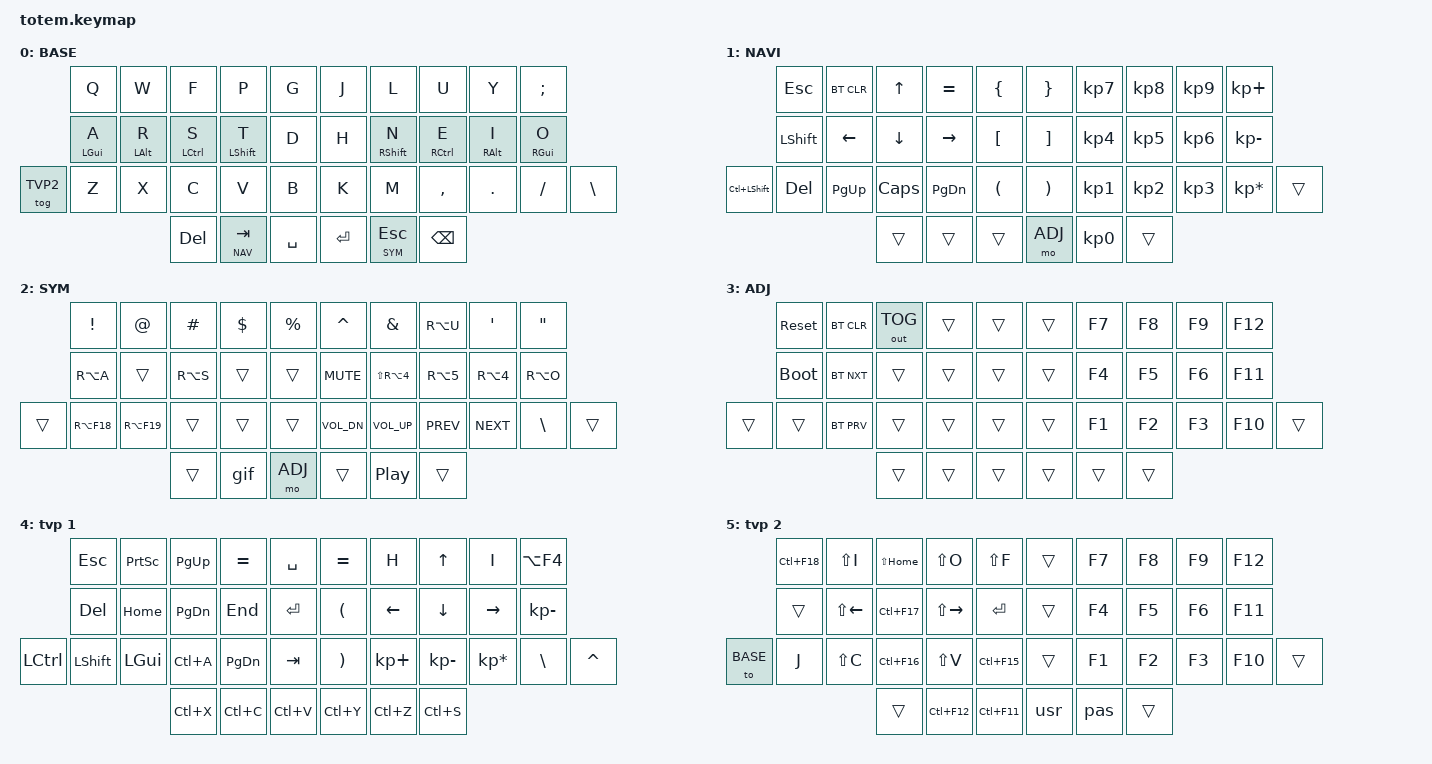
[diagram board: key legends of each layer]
//
//                                                        ▀▀▀▀▀     ▀▀▀▀▀          ▀▀█▀▀
//                                                        ▄▀▀▀▄  ▄  ▄▀▀▀▄  ▄  ▄▀▀▀▄  █  ▄▀▀▀▄
//                                                        █   █  █  █   █  █  █   █  █  █   █
//                                                         ▀▀▀   █   ▀▀▀   █   ▀▀▀   ▀   ▀▀▀
//                                                               █      ▄▄▄█▄▄▄    █   █  
//                                                               ▀      █  █  █     █▄█
//                                                             ▀▀▀▀▀    █  █  █      ▀
//                                                                      ▀  ▀  ▀
//
// ▄▄▄▄▄▄▄▄▄▄▄▄▄▄▄▄▄▄▄▄▄▄▄▄▄▄▄▄▄▄▄▄▄▄▄▄▄▄▄▄▄▄▄▄▄▄▄▄▄▄▄▄▄▄▄▄▄▄▄▄▄▄▄▄▄▄▄▄▄▄▄▄▄▄▄▄▄▄▄▄▄▄▄▄▄▄▄▄▄▄▄▄▄▄▄▄▄▄▄▄▄▄▄▄▄▄▄▄▄▄▄▄▄▄▄▄▄▄▄▄▄▄▄▄▄▄▄▄▄▄▄▄▄▄▄▄▄▄▄▄▄▄▄▄▄▄▄▄▄
       

#include <behaviors.dtsi>
#include <dt-bindings/zmk/keys.h>
#include <dt-bindings/zmk/bt.h>
#include <dt-bindings/zmk/outputs.h>

#define BASE 0
#define NAV  1
#define SYM  2
#define ADJ  3
#define TVP1 4
#define TVP2 5

&mt {
  quick-tap-ms = <100>;
  global-quick-tap;
  flavor = "tap-preferred";
  tapping-term-ms = <170>;
};



/ {
     combos {
            compatible = "zmk,combos";
            combo_esc {
                timeout-ms = <50>;
                key-positions = <0 1>;
                bindings = <&kp ESC>;
            };
            combo_tvp {
                timeout-ms = <100>;
                key-positions = <11 12 13>;
                bindings = <&tog TVP1>;
            };
           
    };

    macros {
        gif: gif {
            label = "giphy";
            compatible = "zmk,behavior-macro";
            #binding-cells = <0>;
            bindings
                = <&macro_press &kp LSHFT>
                , <&macro_tap &kp N2>
                , <&macro_release &kp LSHFT>
                , <&macro_tap &kp G &kp I &kp F>
                ;
        };
       usr: usr {
            label = "usr";
            compatible = "zmk,behavior-macro";
            #binding-cells = <0>;
            bindings
                = <&macro_tap &kp R &kp I &kp T &kp S &kp U &kp I &kp TAB >
                ;
        };
        pas: pas {
            label = "pas";
            compatible = "zmk,behavior-macro";
            #binding-cells = <0>;
            bindings
                = <&macro_tap  &kp P &kp O &kp N8 &kp N4 &kp U &kp R &kp N3 &kp U &kp RET>
                ;
        };
    };

        keymap {
                compatible = "zmk,keymap";
// ▄▄▄▄▄▄▄▄▄▄▄▄▄▄▄▄▄▄▄▄▄▄▄▄▄▄▄▄▄▄▄▄▄▄▄▄▄▄▄▄▄▄▄▄▄▄▄▄▄▄▄▄▄▄▄▄▄▄▄▄▄▄▄▄▄▄▄▄▄▄▄▄▄▄▄▄▄▄▄▄▄▄▄▄▄▄▄▄▄▄▄▄▄▄▄▄▄▄▄▄▄▄▄▄▄▄▄▄▄▄▄▄▄▄▄▄▄▄▄▄▄▄▄▄▄▄▄▄▄▄▄▄▄▄▄▄▄▄▄▄▄▄▄▄▄▄▄▄▄

                base_layer {
// ┏━━━━━━━━━━━━━━━━━━━━━━━━━━━━━━━━━━━━━━━┓
label= "BASE"                              ;
// ┗━━━━━━━━━━━━━━━━━━━━━━━━━━━━━━━━━━━━━━━┛
//             ┏━━━━━━━━━━━┳━━━━━━━━━━━┳━━━━━━━━━━━┳━━━━━━━━━━━┳━━━━━━━━━━━┓   ┏━━━━━━━━━━━┳━━━━━━━━━━━┳━━━━━━━━━━━┳━━━━━━━━━━━┳━━━━━━━━━━━┓
//                   ┃     Q     ┃     W     ┃     F     ┃     P     ┃     G     ┃   ┃     J     ┃     L     ┃     U     ┃     Y     ┃     ;     ┃
//             ┣━━━━━━━━━━━╋━━━━━━━━━━━╋━━━━━━━━━━━╋━━━━━━━━━━━╋━━━━━━━━━━━┫   ┣━━━━━━━━━━━╋━━━━━━━━━━━╋━━━━━━━━━━━╋━━━━━━━━━━━╋━━━━━━━━━━━┫
//                   ┃     A     ┃     R     ┃     S     ┃     T     ┃     D     ┃   ┃     H     ┃     N     ┃     E     ┃     I     ┃     O     ┃
// ┏━━━━━━━━━━━╋━━━━━━━━━━━╋━━━━━━━━━━━╋━━━━━━━━━━━╋━━━━━━━━━━━╋━━━━━━━━━━━┫   ┣━━━━━━━━━━━╋━━━━━━━━━━━╋━━━━━━━━━━━╋━━━━━━━━━━━╋━━━━━━━━━━━╋━━━━━━━━━━━┓
// ┃           TVP2   ┃     Z     ┃     X     ┃     C     ┃     V     ┃     B     ┃   ┃     K     ┃     M     ┃     ,     ┃     .     ┃     /     ┃     \     ┃
// ┗━━━━━━━━━━━┻━━━━━━━━━━━┻━━━━━━━━━━━╋━━━━━━━━━━━╋━━━━━━━━━━━╋━━━━━━━━━━━┫   ┣━━━━━━━━━━━╋━━━━━━━━━━━╋━━━━━━━━━━━╋━━━━━━━━━━━┻━━━━━━━━━━━┻━━━━━━━━━━━┛
//                                     ┃    DEL    ┃    TAB    ┃    SPC    ┃   ┃   ENTER   ┃    ESC    ┃   BSPC    ┃
//                                     ┗━━━━━━━━━━━┻━━━━━━━━━━━┻━━━━━━━━━━━┛   ┗━━━━━━━━━━━┻━━━━━━━━━━━┻━━━━━━━━━━━┛
 bindings = <
// ╷           ╷           ╷           ╷           ╷           ╷           ╷   ╷           ╷           ╷           ╷           ╷           ╷           ╷

                &kp Q       &kp W       &kp F       &kp P        &kp G           &kp J       &kp L       &kp U       &kp Y       &kp SEMI
                &mt LGUI A  &mt LALT R  &mt LCTRL S &mt LSHFT T  &kp D           &kp H       &mt RSHFT N &mt RCTRL E &mt RALT I  &mt RGUI O
    &tog TVP2   &kp Z       &kp X       &kp C       &kp V        &kp B           &kp K       &kp M       &kp COMMA   &kp DOT     &kp FSLH    &kp BSLH
                                        &kp DEL   &lt NAV TAB    &kp SPACE       &kp RET   &lt SYM ESC   &kp BSPC
                        >;
                };

// ▄▄▄▄▄▄▄▄▄▄▄▄▄▄▄▄▄▄▄▄▄▄▄▄▄▄▄▄▄▄▄▄▄▄▄▄▄▄▄▄▄▄▄▄▄▄▄▄▄▄▄▄▄▄▄▄▄▄▄▄▄▄▄▄▄▄▄▄▄▄▄▄▄▄▄▄▄▄▄▄▄▄▄▄▄▄▄▄▄▄▄▄▄▄▄▄▄▄▄▄▄▄▄▄▄▄▄▄▄▄▄▄▄▄▄▄▄▄▄▄▄▄▄▄▄▄▄▄▄▄▄▄▄▄▄▄▄▄▄▄▄▄▄▄▄▄▄▄▄


                nav_layer {
// ┏━━━━━━━━━━━━━━━━━━━━━━━━━━━━━━━━━━━━━━━┓
label= "NAVI"                              ;
// ┗━━━━━━━━━━━━━━━━━━━━━━━━━━━━━━━━━━━━━━━┛
//               ┏━━━━━━━━━━━┳━━━━━━━━━━━┳━━━━━━━━━━━┳━━━━━━━━━━━┳━━━━━━━━━━━┓   ┏━━━━━━━━━━━┳━━━━━━━━━━━┳━━━━━━━━━━━┳━━━━━━━━━━━┳━━━━━━━━━━━┓
//         ┃                       ┃           ┃     UP    ┃    =       ┃     {     ┃   ┃     }     ┃     7     ┃     8     ┃     9     ┃     +     ┃
//               ┣━━━━━━━━━━━╋━━━━━━━━━━━╋━━━━━━━━━━━╋━━━━━━━━━━━╋━━━━━━━━━━━┫   ┣━━━━━━━━━━━╋━━━━━━━━━━━╋━━━━━━━━━━━╋━━━━━━━━━━━╋━━━━━━━━━━━┫
//                         SHIFT   ┃   LEFT    ┃    DOWN   ┃   RIGHT   ┃     [     ┃   ┃     ]     ┃     4     ┃     5     ┃     6     ┃     -     ┃
//   ┏━━━━━━━━━━━╋━━━━━━━━━━━╋━━━━━━━━━━━╋━━━━━━━━━━━╋━━━━━━━━━━━╋━━━━━━━━━━━┫   ┣━━━━━━━━━━━╋━━━━━━━━━━━╋━━━━━━━━━━━╋━━━━━━━━━━━╋━━━━━━━━━━━╋━━━━━━━━━━━┓
// ┃           LC(LSHFT)     DEL    ┃   P UP    ┃  C LOCK   ┃  P DOWN   ┃     (     ┃   ┃     )     ┃     1     ┃     2     ┃     3     ┃     *     ┃      \     ┃
//   ┗━━━━━━━━━━━┻━━━━━━━━━━━┻━━━━━━━━━━━╋━━━━━━━━━━━╋━━━━━━━━━━━╋━━━━━━━━━━━┫   ┣━━━━━━━━━━━╋━━━━━━━━━━━╋━━━━━━━━━━━╋━━━━━━━━━━━┻━━━━━━━━━━━┻━━━━━━━━━━━┛
//                                    ┃            DEL    ┃    TAB    ┃    SPC    ┃   ┃    ADJ    ┃     0     ┃    BSPC      ┃
//                                       ┗━━━━━━━━━━━┻━━━━━━━━━━━┻━━━━━━━━━━━┛   ┗━━━━━━━━━━━┻━━━━━━━━━━━┻━━━━━━━━━━━┛
 bindings = <
// ╷           ╷           ╷           ╷           ╷           ╷           ╷   ╷           ╷           ╷           ╷           ╷           ╷           ╷

                &kp ESC     &bt BT_CLR  &kp UP      &kp EQUAL   &kp LBRC        &kp RBRC    &kp KP_N7   &kp KP_N8   &kp KP_N9   &kp KP_PLUS
                &kp LSHFT   &kp LEFT    &kp DOWN    &kp RIGHT   &kp LBKT        &kp RBKT    &kp KP_N4   &kp KP_N5   &kp KP_N6   &kp KP_MINUS
&kp LC(LSHFT)   &kp DEL     &kp PG_UP   &kp CAPS    &kp PG_DN   &kp LPAR        &kp RPAR    &kp KP_N1   &kp KP_N2   &kp KP_N3   &kp KP_MULTIPLY &trans      
                                        &trans      &trans      &trans          &mo ADJ     &kp KP_N0   &trans      
                        >;
                };

// ▄▄▄▄▄▄▄▄▄▄▄▄▄▄▄▄▄▄▄▄▄▄▄▄▄▄▄▄▄▄▄▄▄▄▄▄▄▄▄▄▄▄▄▄▄▄▄▄▄▄▄▄▄▄▄▄▄▄▄▄▄▄▄▄▄▄▄▄▄▄▄▄▄▄▄▄▄▄▄▄▄▄▄▄▄▄▄▄▄▄▄▄▄▄▄▄▄▄▄▄▄▄▄▄▄▄▄▄▄▄▄▄▄▄▄▄▄▄▄▄▄▄▄▄▄▄▄▄▄▄▄▄▄▄▄▄▄▄▄▄▄▄▄▄▄▄▄▄▄


                sim_layer {
// ┏━━━━━━━━━━━━━━━━━━━━━━━━━━━━━━━━━━━━━━━┓
label= "SYM"                               ;
// ┗━━━━━━━━━━━━━━━━━━━━━━━━━━━━━━━━━━━━━━━┛
//             ┏━━━━━━━━━━━┳━━━━━━━━━━━┳━━━━━━━━━━━┳━━━━━━━━━━━┳━━━━━━━━━━━┓   ┏━━━━━━━━━━━┳━━━━━━━━━━━┳━━━━━━━━━━━┳━━━━━━━━━━━┳━━━━━━━━━━━┓
//                   ┃     !     ┃     @     ┃     #     ┃     $     ┃     %     ┃   ┃     ˆ     ┃     &     ┃     Ü     ┃     '     ┃     "     ┃
//             ┣━━━━━━━━━━━╋━━━━━━━━━━━╋━━━━━━━━━━━╋━━━━━━━━━━━╋━━━━━━━━━━━┫   ┣━━━━━━━━━━━╋━━━━━━━━━━━╋━━━━━━━━━━━╋━━━━━━━━━━━╋━━━━━━━━━━━┫
//                   ┃     Ä     ┃           ┃    SZ     ┃           ┃           ┃   ┃   MUTE    ┃   YEN     ┃   EURO    ┃  POUND    ┃     Ö     ┃
// ┏━━━━━━━━━━━╋━━━━━━━━━━━╋━━━━━━━━━━━╋━━━━━━━━━━━╋━━━━━━━━━━━╋━━━━━━━━━━━┫   ┣━━━━━━━━━━━╋━━━━━━━━━━━╋━━━━━━━━━━━╋━━━━━━━━━━━╋━━━━━━━━━━━╋━━━━━━━━━━━┓
// ┃                  ┃  EMAIL1   ┃  EMAIL2   ┃           ┃           ┃           ┃   ┃   VOL-    ┃   VOL+    ┃   LAST    ┃   NEXT    ┃     \     ┃           ┃
// ┗━━━━━━━━━━━┻━━━━━━━━━━━┻━━━━━━━━━━━╋━━━━━━━━━━━╋━━━━━━━━━━━╋━━━━━━━━━━━┫   ┣━━━━━━━━━━━╋━━━━━━━━━━━╋━━━━━━━━━━━╋━━━━━━━━━━━┻━━━━━━━━━━━┻━━━━━━━━━━━┛
//                                     ┃           ┃    GIF    ┃    ADJ    ┃   ┃           ┃           ┃           ┃
//                                     ┗━━━━━━━━━━━┻━━━━━━━━━━━┻━━━━━━━━━━━┛   ┗━━━━━━━━━━━┻━━━━━━━━━━━┻━━━━━━━━━━━┛
 bindings = <
// ╷           ╷           ╷           ╷           ╷           ╷           ╷   ╷           ╷           ╷           ╷           ╷           ╷           ╷

                &kp EXCL    &kp AT      &kp HASH    &kp DLLR    &kp PRCNT       &kp CARET   &kp AMPS    &kp RA(U)   &kp SQT     &kp DQT       
                &kp RA(A)   &trans      &kp RA(S)   &trans      &trans          &kp C_MUTE  &kp LS(RA(N4)) &kp RA(N5) &kp RA(N4)   &kp RA(O) 
    &trans      &kp RA(F18) &kp RA(F19) &trans      &trans      &trans          &kp C_VOL_DN &kp C_VOL_UP &kp C_PREV &kp C_NEXT  &kp BSLH   &trans         
                                        &trans      &gif        &mo ADJ         &trans      &kp C_PP    &trans      
                        >;
                };

// ▄▄▄▄▄▄▄▄▄▄▄▄▄▄▄▄▄▄▄▄▄▄▄▄▄▄▄▄▄▄▄▄▄▄▄▄▄▄▄▄▄▄▄▄▄▄▄▄▄▄▄▄▄▄▄▄▄▄▄▄▄▄▄▄▄▄▄▄▄▄▄▄▄▄▄▄▄▄▄▄▄▄▄▄▄▄▄▄▄▄▄▄▄▄▄▄▄▄▄▄▄▄▄▄▄▄▄▄▄▄▄▄▄▄▄▄▄▄▄▄▄▄▄▄▄▄▄▄▄▄▄▄▄▄▄▄▄▄▄▄▄▄▄▄▄▄▄▄▄


                adjust_layer {
// ┏━━━━━━━━━━━━━━━━━━━━━━━━━━━━━━━━━━━━━━━┓
label= "ADJ"                               ;
// ┗━━━━━━━━━━━━━━━━━━━━━━━━━━━━━━━━━━━━━━━┛
//             ┏━━━━━━━━━━━┳━━━━━━━━━━━┳━━━━━━━━━━━┳━━━━━━━━━━━┳━━━━━━━━━━━┓   ┏━━━━━━━━━━━┳━━━━━━━━━━━┳━━━━━━━━━━━┳━━━━━━━━━━━┳━━━━━━━━━━━┓
//             ┃    RESET    ┃ BT CLEAR  ┃  OUT TOG  ┃           ┃           ┃   ┃           ┃    F7     ┃    F8     ┃    F9     ┃    F12    ┃
//             ┣━━━━━━━━━━━╋━━━━━━━━━━━╋━━━━━━━━━━━╋━━━━━━━━━━━╋━━━━━━━━━━━┫   ┣━━━━━━━━━━━╋━━━━━━━━━━━╋━━━━━━━━━━━╋━━━━━━━━━━━╋━━━━━━━━━━━┫
//              ┃ BOOTLOAD   ┃ BT NEXT   ┃           ┃           ┃           ┃   ┃           ┃    F4     ┃    F5     ┃    F6     ┃    F11    ┃
// ┏━━━━━━━━━━━╋━━━━━━━━━━━╋━━━━━━━━━━━╋━━━━━━━━━━━╋━━━━━━━━━━━╋━━━━━━━━━━━┫   ┣━━━━━━━━━━━╋━━━━━━━━━━━╋━━━━━━━━━━━╋━━━━━━━━━━━╋━━━━━━━━━━━╋━━━━━━━━━━━┓
// ┃            ┃             ┃ BT PREV   ┃           ┃           ┃           ┃   ┃           ┃    F1     ┃    F2     ┃    F3     ┃    F10    ┃           ┃
// ┗━━━━━━━━━━━┻━━━━━━━━━━━┻━━━━━━━━━━━╋━━━━━━━━━━━╋━━━━━━━━━━━╋━━━━━━━━━━━┫   ┣━━━━━━━━━━━╋━━━━━━━━━━━╋━━━━━━━━━━━╋━━━━━━━━━━━┻━━━━━━━━━━━┻━━━━━━━━━━━┛
//                                     ┃           ┃           ┃           ┃   ┃           ┃           ┃           ┃
//                                      ┗━━━━━━━━━━━┻━━━━━━━━━━━┻━━━━━━━━━━━┛   ┗━━━━━━━━━━━┻━━━━━━━━━━━┻━━━━━━━━━━━┛
 bindings = <
// ╷           ╷           ╷           ╷           ╷           ╷           ╷   ╷           ╷           ╷           ╷           ╷           ╷           ╷

                &sys_reset  &bt BT_CLR &out OUT_TOG &trans      &trans          &trans      &kp F7      &kp F8      &kp F9      &kp F12
                &bootloader &bt BT_NXT  &trans      &trans      &trans          &trans      &kp F4      &kp F5      &kp F6      &kp F11  
    &trans      &trans      &bt BT_PRV  &trans      &trans      &trans          &trans      &kp F1      &kp F2      &kp F3      &kp F10     &trans         
                                        &trans      &trans      &trans          &trans      &trans      &trans      
                        >;
                };

// ▄▄▄▄▄▄▄▄▄▄▄▄▄▄▄▄▄▄▄▄▄▄▄▄▄▄▄▄▄▄▄▄▄▄▄▄▄▄▄▄▄▄▄▄▄▄▄▄▄▄▄▄▄▄▄▄▄▄▄▄▄▄▄▄▄▄▄▄▄▄▄▄▄▄▄▄▄▄▄▄▄▄▄▄▄▄▄▄▄▄▄▄▄▄▄▄▄▄▄▄▄▄▄▄▄▄▄▄▄▄▄▄▄▄▄▄▄▄▄▄▄▄▄▄▄▄▄▄▄▄▄▄▄▄▄▄▄▄▄▄▄▄▄▄▄▄▄▄▄


                tvp1_layer {
// ┏━━━━━━━━━━━━━━━━━━━━━━━━━━━━━━━━━━━━━━━┓
label= "tvp 1"                             ;
// ┗━━━━━━━━━━━━━━━━━━━━━━━━━━━━━━━━━━━━━━━┛
//              ┏━━━━━━━━━━━┳━━━━━━━━━━━┳━━━━━━━━━━━┳━━━━━━━━━━━┳━━━━━━━━━━━┓   ┏━━━━━━━━━━━┳━━━━━━━━━━━┳━━━━━━━━━━━┳━━━━━━━━━━━┳━━━━━━━━━━━┓
//          ┃        ESC        PRTSRN    ┃   P UP ┃       =       ┃   SPACE     ┃   ┃     =    ┃     H     ┃     UP          I     ┃     CLOSE     ┃
//              ┣━━━━━━━━━━━╋━━━━━━━━━━━╋━━━━━━━━━━━╋━━━━━━━━━━━╋━━━━━━━━━━━┫   ┣━━━━━━━━━━━╋━━━━━━━━━━━╋━━━━━━━━━━━╋━━━━━━━━━━━╋━━━━━━━━━━━┫
//                  DEL     ┃   HOME    ┃     P DOWN      END      ┃  TAB     ┃          (    ┃     LEFT       DOWN        RIGHT ┃     -     ┃
//  ┏━━━━━━━━━━━╋━━━━━━━━━━━╋━━━━━━━━━━━╋━━━━━━━━━━━╋━━━━━━━━━━━╋━━━━━━━━━━━┫   ┣━━━━━━━━━━━╋━━━━━━━━━━━╋━━━━━━━━━━━╋━━━━━━━━━━━╋━━━━━━━━━━━╋━━━━━━━━━━━┓
// ┃       CTRL     SHIFT       WIN          SEL_ALL    ┃ P DOWN     ENTER     ┃        )   ┃      +     ┃     -     ┃      *     ┃      /     ┃      ^     ┃
//  ┗━━━━━━━━━━━┻━━━━━━━━━━━┻━━━━━━━━━━━╋━━━━━━━━━━━╋━━━━━━━━━━━╋━━━━━━━━━━━┫   ┣━━━━━━━━━━━╋━━━━━━━━━━━╋━━━━━━━━━━━╋━━━━━━━━━━━┻━━━━━━━━━━━┻━━━━━━━━━━━┛
//                                    ┃      CUT    ┃     COPY       PASTE  ┃   ┃        REDO ┃     UNDO    ┃  SAVE      ┃
//                                       ┗━━━━━━━━━━━┻━━━━━━━━━━━┻━━━━━━━━━━━┛   ┗━━━━━━━━━━━┻━━━━━━━━━━━┻━━━━━━━━━━━┛
 bindings = <
// ╷           ╷           ╷           ╷           ╷           ╷           ╷   ╷           ╷           ╷           ╷           ╷           ╷           ╷

                &kp ESC      &kp PSCRN   &kp PG_UP   &kp EQUAL   &kp SPACE       &kp EQUAL    &kp H        &kp UP          &kp I             &kp LA(F4)
                &kp DEL      &kp HOME    &kp PG_DN   &kp END     &kp RET         &kp LPAR     &kp LEFT     &kp DOWN        &kp RIGHT         &kp KP_MINUS
     &kp LCTRL  &kp LSHFT    &kp LGUI    &kp LC(A)   &kp PG_DN   &kp TAB         &kp RPAR     &kp KP_PLUS  &kp KP_MINUS    &kp KP_MULTIPLY   &kp BSLH      &kp CARET
                                         &kp LC(X)   &kp LC(C)   &kp LC(V)       &kp LC(Y)    &kp LC(Z)    &kp LC(S)      
                        >;
                };

// ▄▄▄▄▄▄▄▄▄▄▄▄▄▄▄▄▄▄▄▄▄▄▄▄▄▄▄▄▄▄▄▄▄▄▄▄▄▄▄▄▄▄▄▄▄▄▄▄▄▄▄▄▄▄▄▄▄▄▄▄▄▄▄▄▄▄▄▄▄▄▄▄▄▄▄▄▄▄▄▄▄▄▄▄▄▄▄▄▄▄▄▄▄▄▄▄▄▄▄▄▄▄▄▄▄▄▄▄▄▄▄▄▄▄▄▄▄▄▄▄▄▄▄▄▄▄▄▄▄▄▄▄▄▄▄▄▄▄▄▄▄▄▄▄▄▄▄▄▄


                tvp2_layer {
// ┏━━━━━━━━━━━━━━━━━━━━━━━━━━━━━━━━━━━━━━━┓
label= "tvp 2"                             ;
// ┗━━━━━━━━━━━━━━━━━━━━━━━━━━━━━━━━━━━━━━━┛
//             ┏━━━━━━━━━━━┳━━━━━━━━━━━┳━━━━━━━━━━━┳━━━━━━━━━━━┳━━━━━━━━━━━┓   ┏━━━━━━━━━━━┳━━━━━━━━━━━┳━━━━━━━━━━━┳━━━━━━━━━━━┳━━━━━━━━━━━┓
//             ┃ SOLO      ┃ TOGGLE IN ┃ RESET ROT ┃ TOGGLE OUT┃    TAKE SNAP ┃   ┃       EMPTY        ┃  F7        ┃  F8        ┃  F9        ┃  F12      ┃           ┃
//             ┣━━━━━━━━━━━╋━━━━━━━━━━━╋━━━━━━━━━━━╋━━━━━━━━━━━╋━━━━━━━━━━━┫   ┣━━━━━━━━━━━╋━━━━━━━━━━━╋━━━━━━━━━━━╋━━━━━━━━━━━╋━━━━━━━━━━━┫
//             ┃ ---       ┃ LAST KEY  ┃ NEW KEY   ┃ NEXT KEY  ┃    ENTER     ┃   ┃       EMPTY        ┃  F4        ┃  F5        ┃  F6 ┃        ┃ F11    ┃           ┃
// ┏━━━━━━━━━━━╋━━━━━━━━━━━╋━━━━━━━━━━━╋━━━━━━━━━━━╋━━━━━━━━━━━╋━━━━━━━━━━━┫   ┣━━━━━━━━━━━╋━━━━━━━━━━━╋━━━━━━━━━━━╋━━━━━━━━━━━╋━━━━━━━━━━━╋━━━━━━━━━━━┓
// ┃ BASE  ┃ FULLSCR   ┃ CPY2BRUSH ┃ DEL HEAD  ┃ PSTinPLACE    ┃ BOOK MARK ┃   ┃        EMPTY        ┃  F1        ┃  F2        ┃  F3        ┃  F10         ┃PASSWORD           ┃
// ┗━━━━━━━━━━━┻━━━━━━━━━━━┻━━━━━━━━━━━╋━━━━━━━━━━━╋━━━━━━━━━━━╋━━━━━━━━━━━┫   ┣━━━━━━━━━━━╋━━━━━━━━━━━╋━━━━━━━━━━━╋━━━━━━━━━━━┻━━━━━━━━━━━┻━━━━━━━━━━━┛
//                                     ┃          ┃ REDO/SAV1   ┃TRANS/WARP ┃   ┃       usr        ┃  UNDO       ┃  SAVE      ┃
//                                      ┗━━━━━━━━━━━┻━━━━━━━━━━━┻━━━━━━━━━━━┛   ┗━━━━━━━━━━━┻━━━━━━━━━━━┻━━━━━━━━━━━┛
 bindings = <
// ╷           ╷           ╷           ╷           ╷           ╷           ╷   ╷           ╷           ╷           ╷           ╷           ╷           ╷

                  &kp LC(F18) &kp LS(I)    &kp LS(HOME) &kp LS(O)     &kp LS(F)       &trans      &kp F7      &kp F8      &kp F9      &kp F12
                  &trans      &kp LS(LEFT) &kp LC(F17)  &kp LS(RIGHT) &kp RET         &trans      &kp F4      &kp F5      &kp F6      &kp F11  
  &to BASE    &kp J       &kp LS(C)    &kp LC(F16)  &kp LS(V)     &kp LC(F15)     &trans      &kp F1      &kp F2      &kp F3      &kp F10       &trans         
                                           &trans       &kp LC(F12)   &kp LC(F11)     &usr      &pas      &trans      
                        >;
                };
        };
};
